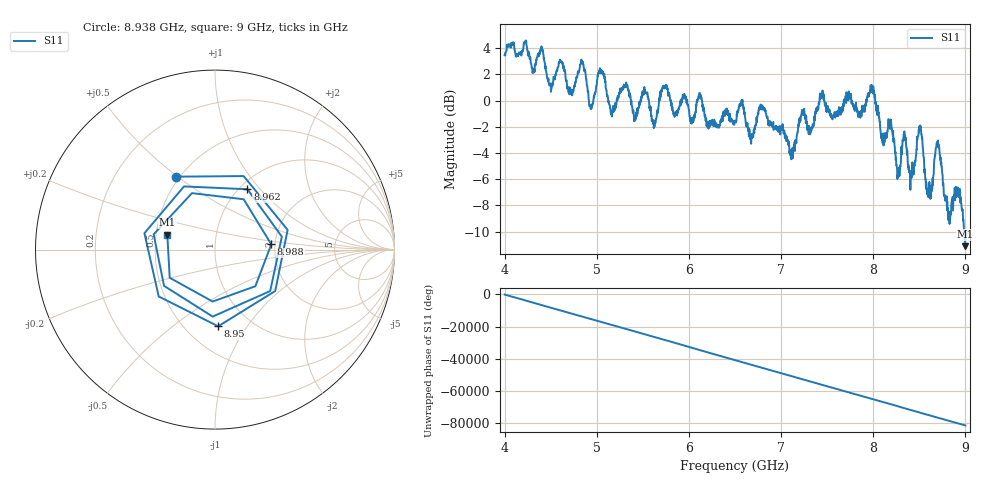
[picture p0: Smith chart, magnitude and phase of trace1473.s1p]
! Created with skrf 1.8.0 (http://scikit-rf.org).
# Hz S RI R 50.0
!freq ReS11 ImS11
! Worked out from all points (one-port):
!   1601 points, 4 GHz to 9 GHz, reference 50 ohm
!   lowest |S11| = -11.1 dB at 9 GHz (marker M1), VSWR 1.77, Z = 28.7 + j5.14 ohm
!   |S11| at or under -10 dB: 8.98738 GHz to end of sweep
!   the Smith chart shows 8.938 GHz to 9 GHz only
!   S11 on the Smith chart (normalised r, x): 8.938 GHz: 0.48, +0.49; 8.95 GHz: 0.71, -0.74; 8.962 GHz: 1.09, +0.86; 8.988 GHz: 1.91, +0.12; 9 GHz: 0.57, +0.10
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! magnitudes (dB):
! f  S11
! 4 GHz  3.5
! 4.625 GHz  2.8
! 4.719 GHz  0.7
! 4.85 GHz  2.8
! 4.938 GHz  -0.5
! 5.041 GHz  2.3
! 5.159 GHz  -0.9
! 5.25 GHz  0.5
! 5.875 GHz  -0.7
! 6.5 GHz  -1.6
! 6.675 GHz  -3.3
! 6.797 GHz  -0.4
! 7.125 GHz  -4.4
! 7.441 GHz  0.4
! 7.75 GHz  0.5
! 7.994 GHz  1.0
! 8.269 GHz  -5.7
! 8.375 GHz  -4.8
! 8.425 GHz  -4.7
! 8.506 GHz  -2.1
! 8.6 GHz  -7.4
! 8.7 GHz  -3.2
! 8.819 GHz  -8.7
! 8.938 GHz  -6.7
! 8.95 GHz  -7.4
! 8.962 GHz  -8.4
! 8.988 GHz  -10.0
! 9 GHz  -11.1
